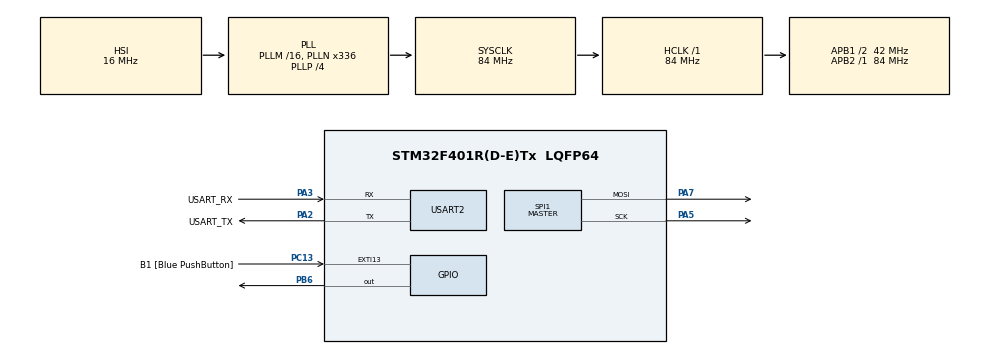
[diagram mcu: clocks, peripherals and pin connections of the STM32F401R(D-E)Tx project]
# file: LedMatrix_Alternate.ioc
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Dma.Request0=SPI1_TX
Dma.SPI1_TX.0.Direction=DMA_MEMORY_TO_PERIPH
Dma.SPI1_TX.0.FIFOMode=DMA_FIFOMODE_DISABLE
Dma.SPI1_TX.0.Instance=DMA2_Stream3
Dma.SPI1_TX.0.MemDataAlignment=DMA_MDATAALIGN_BYTE
Dma.SPI1_TX.0.MemInc=DMA_MINC_ENABLE
Dma.SPI1_TX.0.Mode=DMA_NORMAL
Dma.SPI1_TX.0.PeriphDataAlignment=DMA_PDATAALIGN_BYTE
Dma.SPI1_TX.0.PeriphInc=DMA_PINC_DISABLE
Dma.SPI1_TX.0.Priority=DMA_PRIORITY_LOW
Mcu.Family=STM32F4
Mcu.Name=STM32F401R(D-E)Tx
Mcu.Package=LQFP64
NVIC.DMA2_Stream3_IRQn=true\:0\:0\:false\:false\:true\:false\:true
NVIC.PriorityGroup=NVIC_PRIORITYGROUP_0
NVIC.SPI1_IRQn=true\:0\:0\:false\:false\:true\:true\:true
NVIC.TIM2_IRQn=true\:0\:0\:false\:false\:true\:true\:true
PA13.GPIO_Label=TMS
PA13.Mode=Serial_Wire
PA13.Signal=SYS_JTMS-SWDIO
PA14.GPIO_Label=TCK
PA14.Mode=Serial_Wire
PA14.Signal=SYS_JTCK-SWCLK
PA2.GPIO_Label=USART_TX
PA2.GPIO_Mode=GPIO_MODE_AF_PP
PA2.GPIO_PuPd=GPIO_NOPULL
PA2.GPIO_Speed=GPIO_SPEED_FREQ_LOW
PA2.Mode=Asynchronous
PA2.Signal=USART2_TX
PA3.GPIO_Label=USART_RX
PA3.GPIO_Mode=GPIO_MODE_AF_PP
PA3.GPIO_PuPd=GPIO_NOPULL
PA3.GPIO_Speed=GPIO_SPEED_FREQ_LOW
PA3.Mode=Asynchronous
PA3.Signal=USART2_RX
PA5.Mode=TX_Only_Simplex_Unidirect_Master
PA5.Signal=SPI1_SCK
PA7.Mode=TX_Only_Simplex_Unidirect_Master
PA7.Signal=SPI1_MOSI
PB3.GPIO_Label=SWO
PB3.Signal=SYS_JTDO-SWO
PB6.Signal=GPIO_Output
PC13-ANTI_TAMP.GPIO_Label=B1 [Blue PushButton]
PC13-ANTI_TAMP.GPIO_ModeDefaultEXTI=GPIO_MODE_IT_FALLING
PC13-ANTI_TAMP.GPIO_PuPd=GPIO_NOPULL
PC13-ANTI_TAMP.Signal=GPXTI13
PC14-OSC32_IN.Mode=LSE-External-Oscillator
PC14-OSC32_IN.Signal=RCC_OSC32_IN
PC15-OSC32_OUT.Mode=LSE-External-Oscillator
PC15-OSC32_OUT.Signal=RCC_OSC32_OUT
PH0\ -\ OSC_IN.Mode=HSE-External-Clock-Source
PH0\ -\ OSC_IN.Signal=RCC_OSC_IN
PH1\ -\ OSC_OUT.Mode=HSE-External-Clock-Source
PH1\ -\ OSC_OUT.Signal=RCC_OSC_OUT
ProjectManager.HeapSize=0x200
ProjectManager.StackSize=0x400
ProjectManager.TargetToolchain=STM32CubeIDE
RCC.48MHZClocksFreq_Value=48000000
RCC.AHBFreq_Value=84000000
RCC.APB1CLKDivider=RCC_HCLK_DIV2
RCC.APB1Freq_Value=42000000
RCC.APB1TimFreq_Value=84000000
RCC.APB2Freq_Value=84000000
RCC.APB2TimFreq_Value=84000000
RCC.CortexFreq_Value=84000000
RCC.HCLKFreq_Value=84000000
RCC.HSE_VALUE=8000000
RCC.HSI_VALUE=16000000
RCC.PLLN=336
RCC.PLLP=RCC_PLLP_DIV4
RCC.PLLQ=7
RCC.SYSCLKFreq_VALUE=84000000
RCC.SYSCLKSource=RCC_SYSCLKSOURCE_PLLCLK
RCC.VCOOutputFreq_Value=336000000
SPI1.BaudRatePrescaler=SPI_BAUDRATEPRESCALER_4
SPI1.Direction=SPI_DIRECTION_2LINES
SPI1.Mode=SPI_MODE_MASTER
SPI1.VirtualType=VM_MASTER
TIM2.Period=400- 1
TIM2.Prescaler=840- 1
USART2.VirtualMode=VM_ASYNC
VP_TIM2_VS_ClockSourceINT.Mode=Internal
board=NUCLEO-F401RE

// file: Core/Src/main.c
/* USER CODE BEGIN Header */
/**
  ******************************************************************************
  * @file           : main.c
  * @brief          : Main program body
  ******************************************************************************
  * @attention
  *
  * <h2><center>&copy; Copyright (c) 2021 STMicroelectronics.
  * All rights reserved.</center></h2>
  *
  * This software component is licensed by ST under BSD 3-Clause license,
  * the "License"; You may not use this file except in compliance with the
  * License. You may obtain a copy of the License at:
  *                        opensource.org/licenses/BSD-3-Clause
  *
  ******************************************************************************
  */
/* USER CODE END Header */
#include "main.h"

/* USER CODE BEGIN Includes */
#include "symbols.h"
#include "stdlib.h"
#include "string.h"
/* USER CODE END Includes */

/* USER CODE BEGIN PD */
#define RCLK_PIN	GPIOB, GPIO_PIN_6	//CS PIN
#define ROWS 5
#define COLS 2
/* USER CODE END PD */

SPI_HandleTypeDef hspi1;
DMA_HandleTypeDef hdma_spi1_tx;

TIM_HandleTypeDef htim2;

UART_HandleTypeDef huart2;

/* USER CODE BEGIN PV */
int col_index = 0;
/*
 * For some reason, the Led Matrix values for the ROW are not 7 bits from 1 to 64, but from 2 to 128
 */

uint8_t buffer[5][2];
char str[100] = "A B C D E F G H I J K L M N O P Q R S T U V W X Y Z 0 1 2 3 4 5 6 7 8 9 ";

/* USER CODE END PV */

void SystemClock_Config(void);
static void MX_GPIO_Init(void);
static void MX_USART2_UART_Init(void);
static void MX_SPI1_Init(void);
static void MX_DMA_Init(void);
static void MX_TIM2_Init(void);

/* USER CODE BEGIN 0 */
void setString(char *str, uint16_t length, uint16_t delay){

	for (uint16_t i = 0; i < length; i++){
		switch (str[i]){
		case 'A':
			memcpy(buffer, A, ROWS*COLS*sizeof(uint8_t));
			HAL_Delay(delay);
			break;
		case 'B':
			memcpy(buffer, B, ROWS*COLS*sizeof(uint8_t));
			HAL_Delay(delay);
			break;
		case 'C':
			memcpy(buffer, C, ROWS*COLS*sizeof(uint8_t));
			HAL_Delay(delay);
			break;
		case 'D':
			memcpy(buffer, D, ROWS*COLS*sizeof(uint8_t));
			HAL_Delay(delay);
			break;
		case 'E':
			memcpy(buffer, E, ROWS*COLS*sizeof(uint8_t));
			HAL_Delay(delay);
			break;
		case 'F':
			memcpy(buffer, F, ROWS*COLS*sizeof(uint8_t));
			HAL_Delay(delay);
			break;
		case 'G':
			memcpy(buffer, G, ROWS*COLS*sizeof(uint8_t));
			HAL_Delay(delay);
			break;
		case 'H':
			memcpy(buffer, H, ROWS*COLS*sizeof(uint8_t));
			HAL_Delay(delay);
			break;
		case 'I':
			memcpy(buffer, I, ROWS*COLS*sizeof(uint8_t));
			HAL_Delay(delay);
			break;
		case 'J':
			memcpy(buffer, J, ROWS*COLS*sizeof(uint8_t));
			HAL_Delay(delay);
			break;
		case 'K':
			memcpy(buffer, K, ROWS*COLS*sizeof(uint8_t));
			HAL_Delay(delay);
			break;
		case 'L':
			memcpy(buffer, L, ROWS*COLS*sizeof(uint8_t));
			HAL_Delay(delay);
			break;
		case 'M':
			memcpy(buffer, M, ROWS*COLS*sizeof(uint8_t));
			HAL_Delay(delay);
			break;
		case 'N':
			memcpy(buffer, N, ROWS*COLS*sizeof(uint8_t));
			HAL_Delay(delay);
			break;
		case 'O':
			memcpy(buffer, O, ROWS*COLS*sizeof(uint8_t));
			HAL_Delay(delay);
			break;
		case 'P':
			memcpy(buffer, P, ROWS*COLS*sizeof(uint8_t));
			HAL_Delay(delay);
			break;
		case 'Q':
			memcpy(buffer, Q, ROWS*COLS*sizeof(uint8_t));
			HAL_Delay(delay);
			break;
		case 'R':
			memcpy(buffer, R, ROWS*COLS*sizeof(uint8_t));
			HAL_Delay(delay);
			break;
		case 'S':
			memcpy(buffer, S, ROWS*COLS*sizeof(uint8_t));
			HAL_Delay(delay);
			break;
		case 'T':
			memcpy(buffer, T, ROWS*COLS*sizeof(uint8_t));
			HAL_Delay(delay);
			break;
		case 'U':
			memcpy(buffer, U, ROWS*COLS*sizeof(uint8_t));
			HAL_Delay(delay);
			break;
		case 'V':
			memcpy(buffer, V, ROWS*COLS*sizeof(uint8_t));
			HAL_Delay(delay);
			break;
		case 'W':
			memcpy(buffer, W, ROWS*COLS*sizeof(uint8_t));
			HAL_Delay(delay);
			break;
		case 'X':
			memcpy(buffer, X, ROWS*COLS*sizeof(uint8_t));
			HAL_Delay(delay);
			break;
		case 'Y':
			memcpy(buffer, Y, ROWS*COLS*sizeof(uint8_t));
			HAL_Delay(delay);
			break;
		case 'Z':
			memcpy(buffer, Z, ROWS*COLS*sizeof(uint8_t));
			HAL_Delay(delay);
			break;
		case '0':
			memcpy(buffer, ZERO, ROWS*COLS*sizeof(uint8_t));
			HAL_Delay(delay);
			break;
		case '1':
			memcpy(buffer, ONE, ROWS*COLS*sizeof(uint8_t));
			HAL_Delay(delay);
			break;
		case '2':
			memcpy(buffer, TWO, ROWS*COLS*sizeof(uint8_t));
			HAL_Delay(delay);
			break;
		case '3':
			memcpy(buffer, THREE, ROWS*COLS*sizeof(uint8_t));
			HAL_Delay(delay);
			break;
		case '4':
			memcpy(buffer, FOUR, ROWS*COLS*sizeof(uint8_t));
			HAL_Delay(delay);
			break;
		case '5':
			memcpy(buffer, FIVE, ROWS*COLS*sizeof(uint8_t));
			HAL_Delay(delay);
			break;
		case '6':
			memcpy(buffer, SIX, ROWS*COLS*sizeof(uint8_t));
			HAL_Delay(delay);
			break;
		case '7':
			memcpy(buffer, SEVEN, ROWS*COLS*sizeof(uint8_t));
			HAL_Delay(delay);
			break;
		case '8':
			memcpy(buffer, EIGHT, ROWS*COLS*sizeof(uint8_t));
			HAL_Delay(delay);
			break;
		case '9':
			memcpy(buffer, NINE, ROWS*COLS*sizeof(uint8_t));
			HAL_Delay(delay);
			break;
		case ' ':
			memcpy(buffer, BLANK, ROWS*COLS*sizeof(uint8_t));
			HAL_Delay(delay);
			break;
		default:
			memcpy(buffer, BLANK, ROWS*COLS*sizeof(uint8_t));
			break;
		}
	}
}
/* USER CODE END 0 */

int main(void)
{

  /* MCU Configuration--------------------------------------------------------*/

  /* Reset of all peripherals, Initializes the Flash interface and the Systick. */
  HAL_Init();

  /* Configure the system clock */
  SystemClock_Config();

  /* USER CODE BEGIN SysInit */
  MX_DMA_Init();
  /* USER CODE END SysInit */

  /* Initialize all configured peripherals */
  MX_GPIO_Init();
  MX_USART2_UART_Init();
  MX_DMA_Init();
  MX_SPI1_Init();
  MX_TIM2_Init();
  /* USER CODE BEGIN 2 */
  HAL_TIM_Base_Start_IT(&htim2);

  /* USER CODE END 2 */

  /* Infinite loop */
  /* USER CODE BEGIN WHILE */
  while (1)
  {
	  setString(str, sizeof(str)/sizeof(str[0]), 300);
    /* USER CODE END WHILE */

  }
}

void SystemClock_Config(void)
{
  RCC_OscInitTypeDef RCC_OscInitStruct = {0};
  RCC_ClkInitTypeDef RCC_ClkInitStruct = {0};

  /** Configure the main internal regulator output voltage
  */
  __HAL_RCC_PWR_CLK_ENABLE();
  __HAL_PWR_VOLTAGESCALING_CONFIG(PWR_REGULATOR_VOLTAGE_SCALE2);
  /** Initializes the RCC Oscillators according to the specified parameters
  * in the RCC_OscInitTypeDef structure.
  */
  RCC_OscInitStruct.OscillatorType = RCC_OSCILLATORTYPE_HSI;
  RCC_OscInitStruct.HSIState = RCC_HSI_ON;
  RCC_OscInitStruct.HSICalibrationValue = RCC_HSICALIBRATION_DEFAULT;
  RCC_OscInitStruct.PLL.PLLState = RCC_PLL_ON;
  RCC_OscInitStruct.PLL.PLLSource = RCC_PLLSOURCE_HSI;
  RCC_OscInitStruct.PLL.PLLM = 16;
  RCC_OscInitStruct.PLL.PLLN = 336;
  RCC_OscInitStruct.PLL.PLLP = RCC_PLLP_DIV4;
  RCC_OscInitStruct.PLL.PLLQ = 7;
  if (HAL_RCC_OscConfig(&RCC_OscInitStruct) != HAL_OK)
  {
    Error_Handler();
  }
  /** Initializes the CPU, AHB and APB buses clocks
  */
  RCC_ClkInitStruct.ClockType = RCC_CLOCKTYPE_HCLK|RCC_CLOCKTYPE_SYSCLK
                              |RCC_CLOCKTYPE_PCLK1|RCC_CLOCKTYPE_PCLK2;
  RCC_ClkInitStruct.SYSCLKSource = RCC_SYSCLKSOURCE_PLLCLK;
  RCC_ClkInitStruct.AHBCLKDivider = RCC_SYSCLK_DIV1;
  RCC_ClkInitStruct.APB1CLKDivider = RCC_HCLK_DIV2;
  RCC_ClkInitStruct.APB2CLKDivider = RCC_HCLK_DIV1;

  if (HAL_RCC_ClockConfig(&RCC_ClkInitStruct, FLASH_LATENCY_2) != HAL_OK)
  {
    Error_Handler();
  }
}

static void MX_SPI1_Init(void)
{

  /* SPI1 parameter configuration*/
  hspi1.Instance = SPI1;
  hspi1.Init.Mode = SPI_MODE_MASTER;
  hspi1.Init.Direction = SPI_DIRECTION_2LINES;
  hspi1.Init.DataSize = SPI_DATASIZE_8BIT;
  hspi1.Init.CLKPolarity = SPI_POLARITY_LOW;
  hspi1.Init.CLKPhase = SPI_PHASE_1EDGE;
  hspi1.Init.NSS = SPI_NSS_SOFT;
  hspi1.Init.BaudRatePrescaler = SPI_BAUDRATEPRESCALER_4;
  hspi1.Init.FirstBit = SPI_FIRSTBIT_MSB;
  hspi1.Init.TIMode = SPI_TIMODE_DISABLE;
  hspi1.Init.CRCCalculation = SPI_CRCCALCULATION_DISABLE;
  hspi1.Init.CRCPolynomial = 10;
  if (HAL_SPI_Init(&hspi1) != HAL_OK)
  {
    Error_Handler();
  }

}

static void MX_TIM2_Init(void)
{

  TIM_ClockConfigTypeDef sClockSourceConfig = {0};
  TIM_MasterConfigTypeDef sMasterConfig = {0};

  htim2.Instance = TIM2;
  htim2.Init.Prescaler = 840- 1;
  htim2.Init.CounterMode = TIM_COUNTERMODE_UP;
  htim2.Init.Period = 400- 1;
  htim2.Init.ClockDivision = TIM_CLOCKDIVISION_DIV1;
  htim2.Init.AutoReloadPreload = TIM_AUTORELOAD_PRELOAD_DISABLE;
  if (HAL_TIM_Base_Init(&htim2) != HAL_OK)
  {
    Error_Handler();
  }
  sClockSourceConfig.ClockSource = TIM_CLOCKSOURCE_INTERNAL;
  if (HAL_TIM_ConfigClockSource(&htim2, &sClockSourceConfig) != HAL_OK)
  {
    Error_Handler();
  }
  sMasterConfig.MasterOutputTrigger = TIM_TRGO_RESET;
  sMasterConfig.MasterSlaveMode = TIM_MASTERSLAVEMODE_DISABLE;
  if (HAL_TIMEx_MasterConfigSynchronization(&htim2, &sMasterConfig) != HAL_OK)
  {
    Error_Handler();
  }

}

static void MX_USART2_UART_Init(void)
{

  huart2.Instance = USART2;
  huart2.Init.BaudRate = 115200;
  huart2.Init.WordLength = UART_WORDLENGTH_8B;
  huart2.Init.StopBits = UART_STOPBITS_1;
  huart2.Init.Parity = UART_PARITY_NONE;
  huart2.Init.Mode = UART_MODE_TX_RX;
  huart2.Init.HwFlowCtl = UART_HWCONTROL_NONE;
  huart2.Init.OverSampling = UART_OVERSAMPLING_16;
  if (HAL_UART_Init(&huart2) != HAL_OK)
  {
    Error_Handler();
  }

}

static void MX_DMA_Init(void)
{

  /* DMA controller clock enable */
  __HAL_RCC_DMA2_CLK_ENABLE();

  /* DMA interrupt init */
  /* DMA2_Stream3_IRQn interrupt configuration */
  HAL_NVIC_SetPriority(DMA2_Stream3_IRQn, 0, 0);
  HAL_NVIC_EnableIRQ(DMA2_Stream3_IRQn);

}

static void MX_GPIO_Init(void)
{
  GPIO_InitTypeDef GPIO_InitStruct = {0};

  /* GPIO Ports Clock Enable */
  __HAL_RCC_GPIOC_CLK_ENABLE();
  __HAL_RCC_GPIOH_CLK_ENABLE();
  __HAL_RCC_GPIOA_CLK_ENABLE();
  __HAL_RCC_GPIOB_CLK_ENABLE();

  /*Configure GPIO pin Output Level */
  HAL_GPIO_WritePin(GPIOB, GPIO_PIN_6, GPIO_PIN_RESET);

  /*Configure GPIO pin : B1_Pin */
  GPIO_InitStruct.Pin = B1_Pin;
  GPIO_InitStruct.Mode = GPIO_MODE_IT_FALLING;
  GPIO_InitStruct.Pull = GPIO_NOPULL;
  HAL_GPIO_Init(B1_GPIO_Port, &GPIO_InitStruct);

  /*Configure GPIO pin : PB6 */
  GPIO_InitStruct.Pin = GPIO_PIN_6;
  GPIO_InitStruct.Mode = GPIO_MODE_OUTPUT_PP;
  GPIO_InitStruct.Pull = GPIO_NOPULL;
  GPIO_InitStruct.Speed = GPIO_SPEED_FREQ_LOW;
  HAL_GPIO_Init(GPIOB, &GPIO_InitStruct);

}

/* USER CODE BEGIN 4 */

/*
 * Since DMA is non-blocking, so when this function returns, we should assume that the transfer is IN PROGRESS
 * Thats why we use the HAL_SPI_TxCpltCallback to toggle the RCLK pin
 * An alternative would be toggling the RCLK pin and then starting the transfer, and in this case we can avoid
 * using the HAL_SPI_TxCpltCallback
 */
void HAL_TIM_PeriodElapsedCallback(TIM_HandleTypeDef *htim)
{
	if (htim == &htim2){
		HAL_SPI_Transmit_DMA(&hspi1, buffer[col_index], 2);
	}
}

void HAL_SPI_TxCpltCallback(SPI_HandleTypeDef *hspi){
	if(hspi == &hspi1){
		HAL_GPIO_WritePin(RCLK_PIN, GPIO_PIN_SET);
		if (++col_index > 4) {
			col_index = 0;
		}
		HAL_GPIO_WritePin(RCLK_PIN, GPIO_PIN_RESET);
	}
}
/* USER CODE END 4 */

void Error_Handler(void)
{
  __disable_irq();
  while (1)
  {
  }
}

/************************ (C) COPYRIGHT STMicroelectronics *****END OF FILE****/
